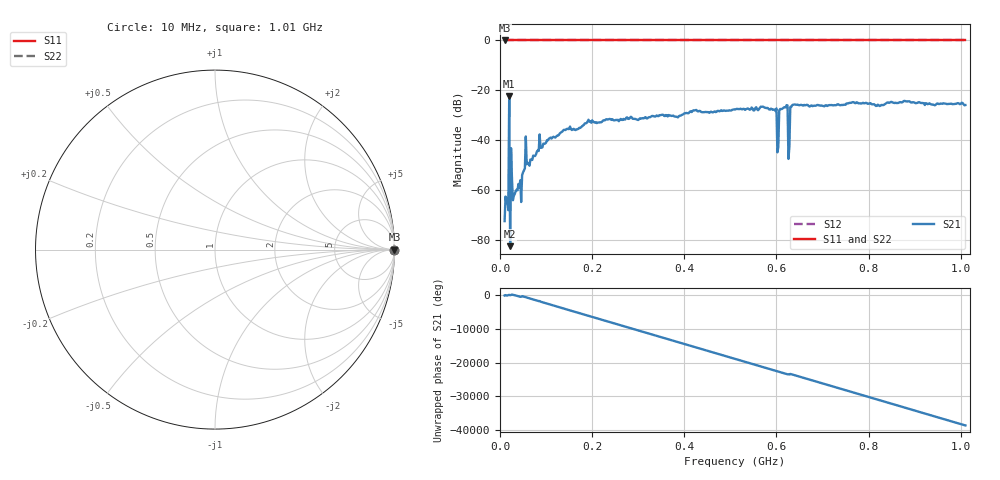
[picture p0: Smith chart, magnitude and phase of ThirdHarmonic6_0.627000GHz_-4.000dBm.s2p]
! 8/15/2025 8:39:02 PM
! C:\ANRITSUVNA\TEMP\TEMP.S2P
! CHANNEL.1
! TR.MEASUREMENT
! RAW.DATA
! RF.CORRECTION.OFF
! AVERAGING.OFF
! IF.BANDWIDTH: 5KHZ
! SWEEPTYPE:  FREQ.SWEEP(Linear)
! Reference Plane Port Info
! PORT:  PORT1  PORT2
! DISTANCE:  0  m  0  m
! TIME:  0  s  0  s
! PHASE.OFFSET:  0  deg.  0  deg.
! LOSS:  0  dB  0  dB
! REF.LOSS:  0  dB  0  dB
! REF.FREQ:  0  Hz  0  Hz
! Power Info
! POWER:  -20  dBm  -20  dBm
! EFF.POWER:  -20  dBm  -20  dBm
! SOURCE.ATTEN:  0  dB  0  dB
! TEST.ATTEN:  0  dB  0  dB
# GHZ S RI R 50.0
! FREQ.GHZ  S11RE  S11IM  S21RE  S21IM  S12RE  S12IM  S22RE  S22IM
!; PortSelection: Port_12
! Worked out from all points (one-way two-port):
!   501 points, 10 MHz to 1.01 GHz, reference 50 ohm
!   highest |S21| = -22.26 dB at 20 MHz (marker M1); lowest = -82.3 dB at 22 MHz (marker M2)
!   lowest |S11| = 0.0 dB at 10 MHz (marker M3)
!   |S11| at or under -10 dB: nowhere
!   |S22| runs from 0.0 to 0.0 dB; largest |S21 - S12| = 1.1
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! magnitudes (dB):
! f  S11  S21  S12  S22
! 10 MHz  0.0  -72.3  0.0  0.0
! 14 MHz  0.0  -65.1  0.0  0.0
! 16 MHz  0.0  -63.1  0.0  0.0
! 18 MHz  0.0  -67.9  0.0  0.0
! 20 MHz  0.0  -22.3  0.0  0.0
! 22 MHz  0.0  -82.3  0.0  0.0
! 24 MHz  0.0  -43.1  0.0  0.0
! 26 MHz  0.0  -55.4  0.0  0.0
! 32 MHz  0.0  -61.4  0.0  0.0
! 56 MHz  0.0  -38.4  0.0  0.0
! 90 MHz  0.0  -42.9  0.0  0.0
! 178 MHz  0.0  -34.4  0.0  0.0
! 344 MHz  0.0  -30.3  0.0  0.0
! 510 MHz  0.0  -27.6  0.0  0.0
! 596 MHz  0.0  -27.7  0.0  0.0
! 602 MHz  0.0  -44.8  0.0  0.0
! 612 MHz  0.0  -27.4  0.0  0.0
! 630 MHz  0.0  -26.6  0.0  0.0
! 634 MHz  0.0  -25.9  0.0  0.0
! 678 MHz  0.0  -26.3  0.0  0.0
! 844 MHz  0.0  -25.0  0.0  0.0
! 1.01 GHz  0.0  -25.9  0.0  0.0
